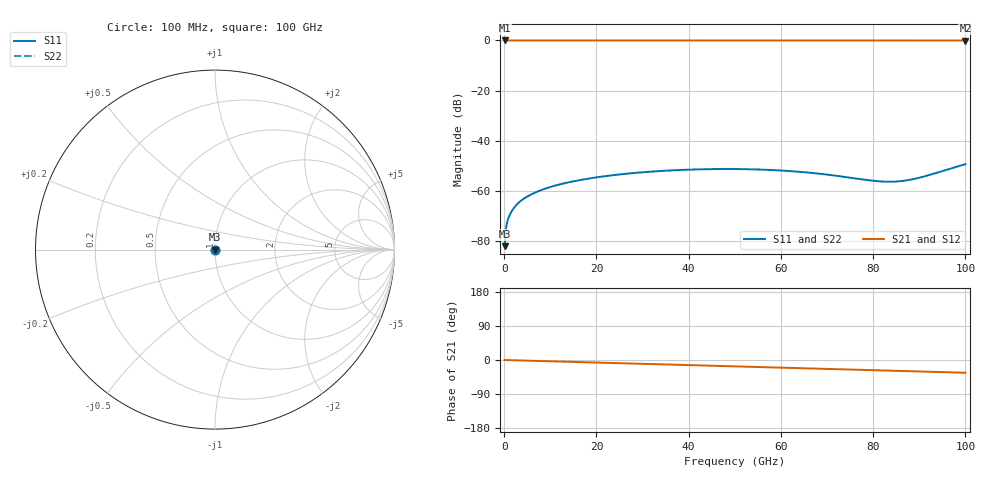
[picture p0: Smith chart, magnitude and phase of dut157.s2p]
! Touchstone file exported from HFSS 2026.1.0
!  File:  C:/ffzhzh/LocalFiles/Ansys_Project_Files/temp_train_TSV_157_1783506733_55944.aedt
!  Generated:  06:33:30 PM Jul  8, 2026
!  Design:  TSV
!  Project:  temp_train_TSV_157_1783506733_55944
! Variables:
!  h_bsmrdl = 2um
!  h_ox = 20um
!  h_rdl = 5um
!  h_sub = 62.61um
!  h_tmrdl = 5um
!  h_tsv = 62.61um
!  h_via = 3um
!  l_bsmrdl = 300um
!  l_sub = 427.8um
!  l_tmrdl = 200um
!  m_sub = 200um
!  pitch = 55.71um
!  r_tsv = 13.9um
!  s_tmrdl = 10um
!  w_bsmrdl = 18um
!  w_sub = 500um
!  w_tmrdl = 12um
!  x_tsv_center1 = 206um
!  x_tsv_center2 = 524um
!  x_tsv_center3 = 736um
!  x_tsv_center4 = 1054um
!  x_tsv_center5 = 1266um
!  x_tsv_center6 = 1584um
# GHz S MA R 50.000000
! Terminal data exported
! Port[1] = TSV1_1_T1
! Port[2] = TSV1_1_T2
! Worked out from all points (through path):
!   1000 points, 100 MHz to 100 GHz, reference 50 ohm
!   highest |S21| = 0.00 dB at 100 MHz (marker M1); lowest = 0.0 dB at 100 GHz (marker M2)
!   group delay of S21, straight-line fit = 932 fs
!   lowest |S11| = -82.2 dB at 100 MHz (marker M3), VSWR 1.00, Z = 50 + j0.00408 ohm
!   |S11| at or under -10 dB: start of sweep to end of sweep
!   |S22| runs from -82.2 to -49.4 dB; largest |S21 - S12| = 2.7e-15
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0.1  7.775e-05 31.6  0.9999 -0.0  0.9999 -0.0  7.775e-05 31.6
! Gamma 0 0 0 0
! Port Impedance 50 0 50 0
0.4  0.0001736 50.3  0.9999 -0.1  0.9999 -0.1  0.0001736 50.3
0.9  0.0002785 50.5  0.9998 -0.3  0.9998 -0.3  0.0002785 50.5
1.4  0.0003543 51.7  0.9998 -0.5  0.9998 -0.5  0.0003543 51.7
1.9  0.000423 52.9  0.9997 -0.6  0.9997 -0.6  0.000423 52.9
2.5  0.0004992 53.7  0.9997 -0.8  0.9997 -0.8  0.0004992 53.7
4  0.0006642 54.9  0.9996 -1.4  0.9996 -1.4  0.0006642 54.9
6.2  0.0008697 56.0  0.9995 -2.1  0.9995 -2.1  0.0008697 56.0
9.1  0.001111 56.7  0.9994 -3.1  0.9994 -3.1  0.001111 56.7
12.6  0.00137 56.9  0.9993 -4.2  0.9993 -4.2  0.00137 56.8
16.8  0.001648 56.7  0.9992 -5.6  0.9992 -5.6  0.001648 56.7
24.5  0.002081 55.5  0.9991 -8.2  0.9991 -8.2  0.002082 55.5
33.4  0.002451 52.9  0.9989 -11.2  0.9989 -11.2  0.002453 52.8
41.7  0.002655 49.5  0.9988 -13.9  0.9988 -13.9  0.002658 49.4
50.1  0.002701 44.8  0.9986 -16.8  0.9986 -16.8  0.002707 44.6
58.7  0.002562 38.0  0.9985 -19.6  0.9985 -19.6  0.00257 37.7
66.7  0.002259 28.2  0.9984 -22.3  0.9984 -22.3  0.002271 27.8
79.5  0.001594 -6.7  0.9982 -26.7  0.9982 -26.7  0.001619 -7.0
83.4  0.001506 -26.8  0.9981 -28.0  0.9981 -28.0  0.001535 -26.8
86.2  0.001554 -43.2  0.9981 -28.9  0.9981 -28.9  0.001585 -42.9
89.2  0.001738 -60.0  0.998 -29.9  0.998 -29.9  0.001768 -59.5
100  0.003383 -98.2  0.9978 -33.6  0.9978 -33.6  0.003402 -97.5
